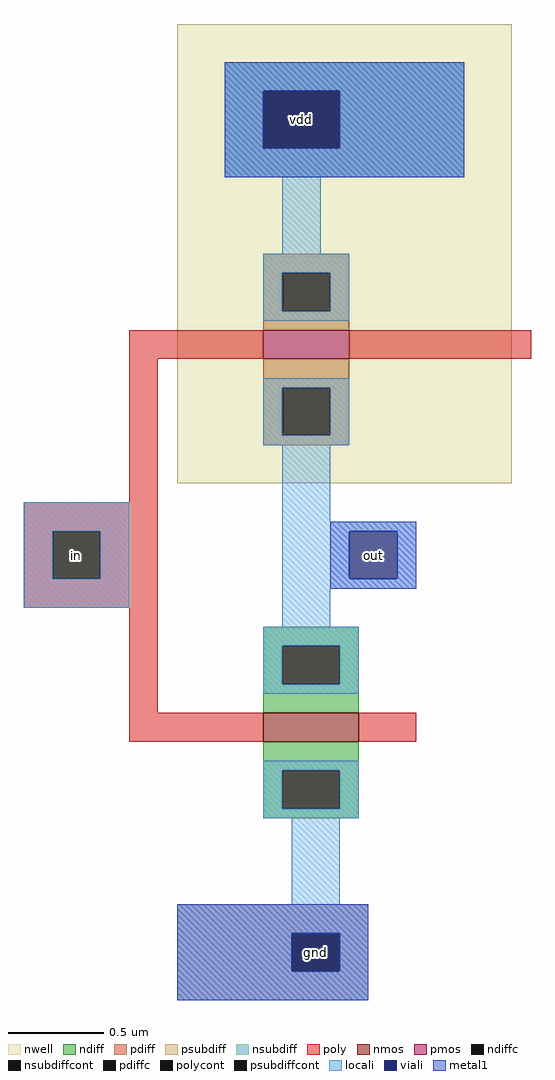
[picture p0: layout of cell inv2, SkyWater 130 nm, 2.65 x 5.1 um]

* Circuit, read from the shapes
.subckt inv2 gnd in out vdd
XM1 out in gnd gnd sky130_fd_pr__nfet_01v8 w=0.5 l=0.15
XM2 vdd in out vdd sky130_fd_pr__pfet_01v8 w=0.45 l=0.15
.ends

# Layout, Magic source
magic
tech sky130A
<< nwell >>
rect -60 -65 115 175
<< nmos >>
rect -15 -200 35 -185
<< pmos >>
rect -15 0 30 15
<< ndiff >>
rect -15 -150 35 -140
rect -15 -170 -5 -150
rect 25 -170 35 -150
rect -15 -185 35 -170
rect -15 -215 35 -200
rect -15 -235 -5 -215
rect 25 -235 35 -215
rect -15 -240 35 -235
<< pdiff >>
rect -15 45 30 55
rect -15 25 -5 45
rect 20 25 30 45
rect -15 15 30 25
rect -15 -15 30 0
rect -15 -40 -5 -15
rect 20 -40 30 -15
rect -15 -45 30 -40
<< ndiffc >>
rect -5 -170 25 -150
rect -5 -235 25 -215
<< pdiffc >>
rect -5 25 20 45
rect -5 -40 20 -15
<< psubdiff >>
rect -60 -300 40 -285
rect -60 -320 0 -300
rect 25 -320 40 -300
rect -60 -335 40 -320
<< nsubdiff >>
rect -35 140 90 155
rect -35 110 -15 140
rect 25 110 90 140
rect -35 95 90 110
<< psubdiffcont >>
rect 0 -320 25 -300
<< nsubdiffcont >>
rect -15 110 25 140
<< poly >>
rect -85 0 -15 15
rect 30 0 125 15
rect -85 -75 -70 0
rect -140 -90 -70 -75
rect -140 -115 -125 -90
rect -100 -115 -70 -90
rect -140 -130 -70 -115
rect -85 -185 -70 -130
rect -85 -200 -15 -185
rect 35 -200 65 -185
<< polycont >>
rect -125 -115 -100 -90
<< locali >>
rect -35 140 90 155
rect -35 110 -15 140
rect 25 110 90 140
rect -35 95 90 110
rect -5 55 15 95
rect -15 45 30 55
rect -15 25 -5 45
rect 20 25 30 45
rect -15 20 30 25
rect -15 -15 30 -10
rect -15 -40 -5 -15
rect 20 -40 30 -15
rect -15 -45 30 -40
rect -140 -90 -85 -75
rect -140 -115 -125 -90
rect -100 -115 -85 -90
rect -140 -130 -85 -115
rect -5 -85 20 -45
rect -5 -90 65 -85
rect -5 -115 30 -90
rect 55 -115 65 -90
rect -5 -120 65 -115
rect -5 -140 20 -120
rect -15 -150 35 -140
rect -15 -170 -5 -150
rect 25 -170 35 -150
rect -15 -175 35 -170
rect -15 -215 35 -210
rect -15 -235 -5 -215
rect 25 -235 35 -215
rect -15 -240 35 -235
rect 0 -285 25 -240
rect -60 -300 40 -285
rect -60 -320 0 -300
rect 25 -320 40 -300
rect -60 -335 40 -320
<< viali >>
rect -15 110 25 140
rect 30 -115 55 -90
rect 0 -320 25 -300
<< metal1 >>
rect -35 140 90 155
rect -35 110 -15 140
rect 25 110 90 140
rect -35 95 90 110
rect 20 -90 65 -85
rect 20 -115 30 -90
rect 55 -115 65 -90
rect 20 -120 65 -115
rect -60 -300 40 -285
rect -60 -320 0 -300
rect 25 -320 40 -300
rect -60 -335 40 -320
<< labels >>
rlabel viali 30 -115 55 -90 1 out
rlabel polycont -125 -115 -100 -90 1 in
rlabel nwell -15 110 25 140 1 vdd
rlabel metal1 0 -320 25 -300 1 gnd
<< end >>
